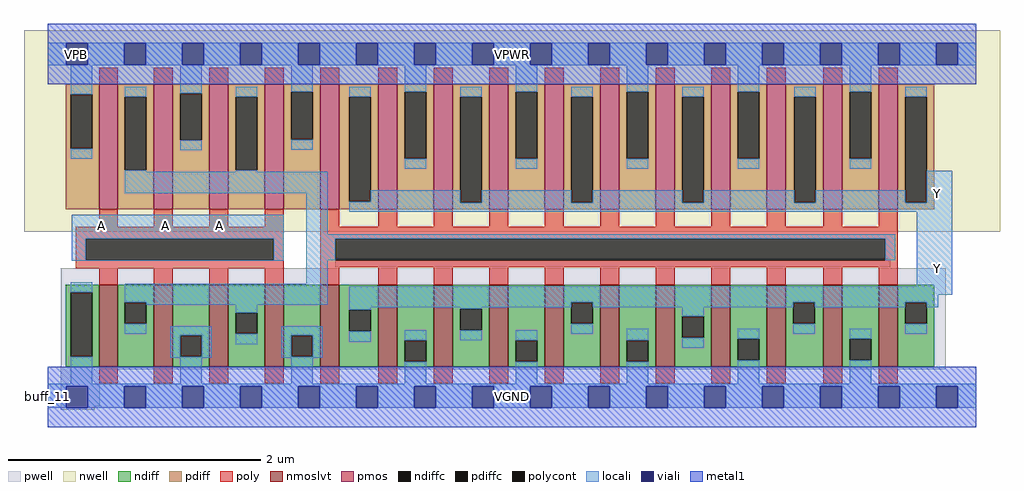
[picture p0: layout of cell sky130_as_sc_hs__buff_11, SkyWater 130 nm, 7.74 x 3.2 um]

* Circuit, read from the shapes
.subckt sky130_as_sc_hs__buff_11 VPB VPWR VGND VNB A Y
XM1 n1 A VGND VNB sky130_fd_pr__nfet_01v8_lvt w=0.65 l=0.15 m=4
XM2 Y n1 VGND VNB sky130_fd_pr__nfet_01v8_lvt w=0.65 l=0.15 m=11
XM3 n1 A VPWR VPB sky130_fd_pr__pfet_01v8 w=0.99 l=0.15 m=4
XM4 Y n1 VPWR VPB sky130_fd_pr__pfet_01v8 w=0.99 l=0.15 m=11
.ends

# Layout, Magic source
magic
tech sky130A
magscale 1 2
<< nwell >>
rect -38 262 1510 582
<< pwell >>
rect 456 206 1336 220
rect 20 44 1424 204
rect 20 -15 82 44
rect 20 -20 74 -15
<< pmos >>
rect 81 298 111 496
rect 168 298 198 496
rect 256 298 286 496
rect 344 298 374 496
rect 432 298 462 496
rect 524 298 554 496
rect 612 298 642 496
rect 700 298 730 496
rect 788 298 818 496
rect 876 298 906 496
rect 964 298 994 496
rect 1052 298 1082 496
rect 1140 298 1170 496
rect 1230 298 1260 496
rect 1318 298 1348 496
<< nmoslvt >>
rect 81 48 111 178
rect 168 48 198 178
rect 256 48 286 178
rect 344 48 374 178
rect 432 48 462 178
rect 524 48 554 178
rect 612 48 642 178
rect 700 48 730 178
rect 788 48 818 178
rect 876 48 906 178
rect 964 48 994 178
rect 1052 48 1082 178
rect 1140 48 1170 178
rect 1230 48 1260 178
rect 1318 48 1348 178
<< ndiff >>
rect 28 166 81 178
rect 28 64 36 166
rect 70 64 81 166
rect 28 48 81 64
rect 111 150 168 178
rect 111 116 122 150
rect 156 116 168 150
rect 111 48 168 116
rect 198 98 256 178
rect 198 64 210 98
rect 244 64 256 98
rect 198 48 256 64
rect 286 134 344 178
rect 286 100 298 134
rect 332 100 344 134
rect 286 48 344 100
rect 374 98 432 178
rect 374 64 386 98
rect 420 64 432 98
rect 374 48 432 64
rect 462 138 524 178
rect 462 104 478 138
rect 512 104 524 138
rect 462 48 524 104
rect 554 90 612 178
rect 554 56 566 90
rect 600 56 612 90
rect 554 48 612 56
rect 642 140 700 178
rect 642 106 654 140
rect 688 106 700 140
rect 642 48 700 106
rect 730 90 788 178
rect 730 56 742 90
rect 776 56 788 90
rect 730 48 788 56
rect 818 150 876 178
rect 818 116 830 150
rect 864 116 876 150
rect 818 48 876 116
rect 906 90 964 178
rect 906 56 918 90
rect 952 56 964 90
rect 906 48 964 56
rect 994 128 1052 178
rect 994 94 1006 128
rect 1040 94 1052 128
rect 994 48 1052 94
rect 1082 92 1140 178
rect 1082 58 1094 92
rect 1128 58 1140 92
rect 1082 48 1140 58
rect 1170 150 1230 178
rect 1170 116 1182 150
rect 1216 116 1230 150
rect 1170 48 1230 116
rect 1260 92 1318 178
rect 1260 58 1272 92
rect 1306 58 1318 92
rect 1260 48 1318 58
rect 1348 150 1406 178
rect 1348 116 1360 150
rect 1394 116 1406 150
rect 1348 48 1406 116
<< pdiff >>
rect 28 480 81 496
rect 28 394 36 480
rect 70 394 81 480
rect 28 298 81 394
rect 111 476 168 496
rect 111 360 122 476
rect 156 360 168 476
rect 111 298 168 360
rect 198 482 256 496
rect 198 407 210 482
rect 244 407 256 482
rect 198 298 256 407
rect 286 476 344 496
rect 286 360 298 476
rect 332 360 344 476
rect 286 298 344 360
rect 374 484 432 496
rect 374 408 386 484
rect 420 408 432 484
rect 374 298 432 408
rect 462 476 524 496
rect 462 310 478 476
rect 512 310 524 476
rect 462 298 524 310
rect 554 484 612 496
rect 554 378 566 484
rect 600 378 612 484
rect 554 298 612 378
rect 642 476 700 496
rect 642 308 654 476
rect 688 308 700 476
rect 642 298 700 308
rect 730 484 788 496
rect 730 378 742 484
rect 776 378 788 484
rect 730 298 788 378
rect 818 476 876 496
rect 818 308 830 476
rect 864 308 876 476
rect 818 298 876 308
rect 906 484 964 496
rect 906 378 918 484
rect 952 378 964 484
rect 906 298 964 378
rect 994 476 1052 496
rect 994 308 1006 476
rect 1040 308 1052 476
rect 994 298 1052 308
rect 1082 484 1140 496
rect 1082 378 1094 484
rect 1128 378 1140 484
rect 1082 298 1140 378
rect 1170 476 1230 496
rect 1170 308 1184 476
rect 1218 308 1230 476
rect 1170 298 1230 308
rect 1260 484 1318 496
rect 1260 378 1272 484
rect 1306 378 1318 484
rect 1260 298 1318 378
rect 1348 476 1406 496
rect 1348 308 1360 476
rect 1394 308 1406 476
rect 1348 298 1406 308
<< ndiffc >>
rect 36 64 70 166
rect 122 116 156 150
rect 210 64 244 98
rect 298 100 332 134
rect 386 64 420 98
rect 478 104 512 138
rect 566 56 600 90
rect 654 106 688 140
rect 742 56 776 90
rect 830 116 864 150
rect 918 56 952 90
rect 1006 94 1040 128
rect 1094 58 1128 92
rect 1182 116 1216 150
rect 1272 58 1306 92
rect 1360 116 1394 150
<< pdiffc >>
rect 36 394 70 480
rect 122 360 156 476
rect 210 407 244 482
rect 298 360 332 476
rect 386 408 420 484
rect 478 310 512 476
rect 566 378 600 484
rect 654 308 688 476
rect 742 378 776 484
rect 830 308 864 476
rect 918 378 952 484
rect 1006 308 1040 476
rect 1094 378 1128 484
rect 1184 308 1218 476
rect 1272 378 1306 484
rect 1360 308 1394 476
<< poly >>
rect 81 496 111 522
rect 168 496 198 522
rect 256 496 286 522
rect 344 496 374 522
rect 432 496 462 522
rect 524 496 554 522
rect 612 496 642 522
rect 700 496 730 522
rect 788 496 818 522
rect 876 496 906 522
rect 964 496 994 522
rect 1052 496 1082 522
rect 1140 496 1170 522
rect 1230 496 1260 522
rect 1318 496 1348 522
rect 81 270 111 298
rect 168 270 198 298
rect 256 270 286 298
rect 344 270 374 298
rect 44 251 374 270
rect 44 217 60 251
rect 358 217 374 251
rect 44 204 374 217
rect 81 178 111 204
rect 168 178 198 204
rect 256 178 286 204
rect 344 178 374 204
rect 432 270 462 298
rect 524 270 554 298
rect 612 270 642 298
rect 700 270 730 298
rect 788 270 818 298
rect 876 270 906 298
rect 964 270 994 298
rect 1052 270 1082 298
rect 1140 270 1170 298
rect 1230 270 1260 298
rect 1318 270 1348 298
rect 432 251 1348 270
rect 432 217 456 251
rect 1328 217 1348 251
rect 432 206 1348 217
rect 432 178 462 206
rect 524 178 554 206
rect 612 178 642 206
rect 700 178 730 206
rect 788 178 818 206
rect 876 178 906 206
rect 964 178 994 206
rect 1052 178 1082 206
rect 1140 178 1170 206
rect 1230 178 1260 206
rect 1318 178 1348 206
rect 81 22 111 48
rect 168 22 198 48
rect 256 22 286 48
rect 344 22 374 48
rect 432 22 462 48
rect 524 22 554 48
rect 612 22 642 48
rect 700 22 730 48
rect 788 22 818 48
rect 876 22 906 48
rect 964 22 994 48
rect 1052 22 1082 48
rect 1140 22 1170 48
rect 1230 22 1260 48
rect 1318 22 1348 48
<< polycont >>
rect 60 217 358 251
rect 456 217 1328 251
<< locali >>
rect 0 561 1472 562
rect 0 527 29 561
rect 63 527 121 561
rect 155 527 213 561
rect 247 527 305 561
rect 339 527 397 561
rect 431 527 489 561
rect 523 527 581 561
rect 615 527 673 561
rect 707 527 765 561
rect 799 527 857 561
rect 891 527 949 561
rect 983 527 1041 561
rect 1075 527 1133 561
rect 1167 527 1225 561
rect 1259 527 1317 561
rect 1351 527 1409 561
rect 1443 527 1472 561
rect 0 526 1472 527
rect 36 480 70 526
rect 36 378 70 394
rect 122 476 156 492
rect 210 482 244 526
rect 210 391 244 407
rect 298 476 332 492
rect 122 357 156 360
rect 386 484 420 526
rect 386 392 420 408
rect 478 476 512 492
rect 298 357 332 360
rect 122 323 444 357
rect 38 251 374 289
rect 38 217 60 251
rect 358 217 374 251
rect 38 216 374 217
rect 410 258 444 323
rect 566 484 600 526
rect 566 362 600 378
rect 654 476 688 492
rect 512 310 654 328
rect 478 308 654 310
rect 742 484 776 526
rect 742 362 776 378
rect 830 476 864 492
rect 688 308 830 328
rect 918 484 952 526
rect 918 362 952 378
rect 1006 476 1040 492
rect 864 308 1006 328
rect 1094 484 1128 526
rect 1094 362 1128 378
rect 1184 476 1218 492
rect 1040 308 1184 328
rect 1272 484 1306 526
rect 1272 362 1306 378
rect 1360 476 1394 492
rect 1218 308 1360 328
rect 1394 308 1434 359
rect 478 294 1434 308
rect 410 251 1344 258
rect 410 217 456 251
rect 1328 217 1344 251
rect 36 166 70 182
rect 410 180 444 217
rect 122 150 444 180
rect 1378 176 1434 294
rect 156 146 444 150
rect 478 162 1434 176
rect 478 150 1412 162
rect 122 100 156 116
rect 298 134 332 146
rect 36 21 70 64
rect 194 98 260 112
rect 194 64 210 98
rect 244 64 260 98
rect 478 142 830 150
rect 478 138 512 142
rect 298 84 332 100
rect 370 98 436 112
rect 194 62 260 64
rect 370 64 386 98
rect 420 64 436 98
rect 654 140 688 142
rect 864 142 1182 150
rect 478 88 512 104
rect 566 90 600 106
rect 654 90 688 106
rect 742 90 776 106
rect 830 100 864 116
rect 1006 128 1040 142
rect 370 62 436 64
rect 210 21 244 62
rect 386 21 420 62
rect 566 21 600 56
rect 742 21 776 56
rect 918 90 952 108
rect 1216 142 1360 150
rect 1006 78 1040 94
rect 1094 92 1128 108
rect 1182 100 1216 116
rect 1394 142 1412 150
rect 918 21 952 56
rect 1094 21 1128 58
rect 1272 92 1306 108
rect 1360 100 1394 116
rect 1272 21 1306 58
rect 0 17 1472 21
rect 0 -17 29 17
rect 63 -17 121 17
rect 155 -17 213 17
rect 247 -17 305 17
rect 339 -17 397 17
rect 431 -17 489 17
rect 523 -17 581 17
rect 615 -17 673 17
rect 707 -17 765 17
rect 799 -17 857 17
rect 891 -17 949 17
rect 983 -17 1041 17
rect 1075 -17 1133 17
rect 1167 -17 1225 17
rect 1259 -17 1317 17
rect 1351 -17 1409 17
rect 1443 -17 1472 17
<< viali >>
rect 29 527 63 561
rect 121 527 155 561
rect 213 527 247 561
rect 305 527 339 561
rect 397 527 431 561
rect 489 527 523 561
rect 581 527 615 561
rect 673 527 707 561
rect 765 527 799 561
rect 857 527 891 561
rect 949 527 983 561
rect 1041 527 1075 561
rect 1133 527 1167 561
rect 1225 527 1259 561
rect 1317 527 1351 561
rect 1409 527 1443 561
rect 29 -17 63 17
rect 121 -17 155 17
rect 213 -17 247 17
rect 305 -17 339 17
rect 397 -17 431 17
rect 489 -17 523 17
rect 581 -17 615 17
rect 673 -17 707 17
rect 765 -17 799 17
rect 857 -17 891 17
rect 949 -17 983 17
rect 1041 -17 1075 17
rect 1133 -17 1167 17
rect 1225 -17 1259 17
rect 1317 -17 1351 17
rect 1409 -17 1443 17
<< metal1 >>
rect 0 561 1472 592
rect 0 527 29 561
rect 63 527 121 561
rect 155 527 213 561
rect 247 527 305 561
rect 339 527 397 561
rect 431 527 489 561
rect 523 527 581 561
rect 615 527 673 561
rect 707 527 765 561
rect 799 527 857 561
rect 891 527 949 561
rect 983 527 1041 561
rect 1075 527 1133 561
rect 1167 527 1225 561
rect 1259 527 1317 561
rect 1351 527 1409 561
rect 1443 527 1472 561
rect 0 496 1472 527
rect 0 17 1472 48
rect 0 -17 29 17
rect 63 -17 121 17
rect 155 -17 213 17
rect 247 -17 305 17
rect 339 -17 397 17
rect 431 -17 489 17
rect 523 -17 581 17
rect 615 -17 673 17
rect 707 -17 765 17
rect 799 -17 857 17
rect 891 -17 949 17
rect 983 -17 1041 17
rect 1075 -17 1133 17
rect 1167 -17 1225 17
rect 1259 -17 1317 17
rect 1351 -17 1409 17
rect 1443 -17 1472 17
rect 0 -48 1472 -17
<< labels >>
rlabel comment s 0 0 0 0 4 buff_11
flabel pwell s 29 -17 63 17 0 FreeSans 200 0 0 0 VNB
port 4 nsew ground bidirectional
flabel pwell s 46 0 46 0 0 FreeSans 200 0 0 0 VNB
flabel nwell s 29 527 63 561 0 FreeSans 200 0 0 0 VPB
port 1 nsew power bidirectional
flabel nwell s 46 544 46 544 0 FreeSans 200 0 0 0 VPB
flabel metal1 s 29 527 63 561 0 FreeSans 200 0 0 0 VPWR
port 2 nsew power bidirectional abutment
flabel metal1 s 29 -17 63 17 0 FreeSans 200 0 0 0 VGND
port 3 nsew ground bidirectional abutment
rlabel metal1 s 0 -48 1472 48 1 VGND
port 3 nsew ground bidirectional abutment
rlabel metal1 s 0 496 1472 592 1 VPWR
port 2 nsew power bidirectional abutment
flabel locali s 170 255 204 289 0 FreeSans 200 0 0 0 A
port 5 nsew signal input
flabel locali s 187 272 187 272 0 FreeSans 200 0 0 0 A
flabel locali s 255 255 289 289 0 FreeSans 200 0 0 0 A
port 5 nsew signal input
flabel locali s 272 272 272 272 0 FreeSans 200 0 0 0 A
flabel locali s 68 255 102 289 0 FreeSans 200 0 0 0 A
port 5 nsew signal input
flabel locali s 1394 306 1428 340 0 FreeSans 200 0 0 0 Y
port 6 nsew signal output
flabel locali s 1411 323 1411 323 0 FreeSans 200 0 0 0 Y
flabel locali s 1394 187 1428 221 0 FreeSans 200 0 0 0 Y
port 6 nsew signal output
flabel locali s 1411 204 1411 204 0 FreeSans 200 0 0 0 Y
flabel locali s 85 272 85 272 0 FreeSans 200 0 0 0 A
<< properties >>
string FIXED_BBOX 0 0 1472 544
string GDS_FILE $PDKPATH/libs.ref/sky130_as_sc_hs/gds/sky130_as_sc_hs__buff_11.gds
string LEFclass CORE
string LEFsite unithd
string LEFsymmetry X Y R90
string MASKHINTS_LVTN 0 -4 1472 220
string MASKHINTS_NSDM 0 -38 1472 204
string MASKHINTS_PSDM 0 272 1472 582
<< end >>
